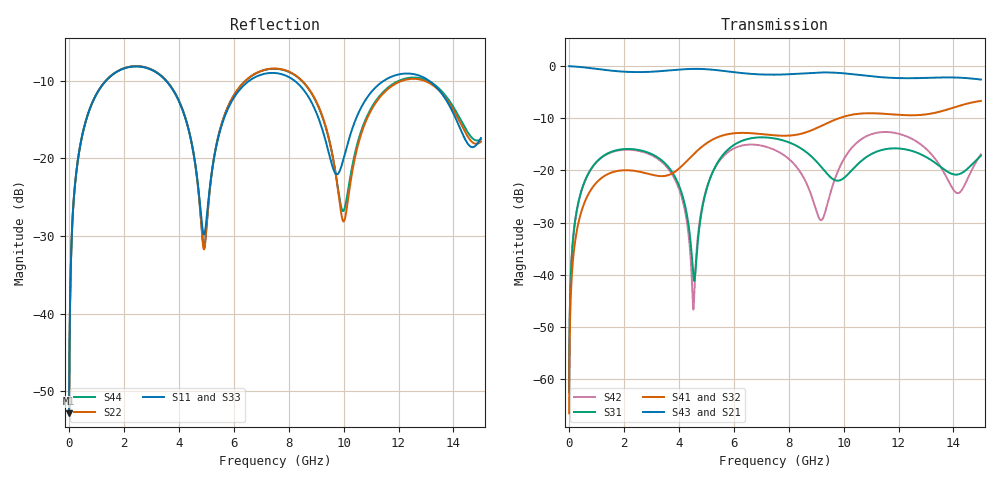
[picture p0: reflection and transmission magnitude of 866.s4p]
! Created with skrf 1.8.0 (http://scikit-rf.org).
# GHz S RI R 50.0
!freq ReS11 ImS11 ReS12 ImS12 ReS13 ImS13
! ReS14 ImS14
! ReS21 ImS21 ReS22 ImS22 ReS23 ImS23
! ReS24 ImS24
! ReS31 ImS31 ReS32 ImS32 ReS33 ImS33
! ReS34 ImS34
! ReS41 ImS41 ReS42 ImS42 ReS43 ImS43
! ReS44 ImS44
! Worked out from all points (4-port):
!   2499 points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, 5 MHz to 15 GHz, reference 50 ohm
!   strongest paths, dB at 5 MHz, 3.476 GHz, 7.19 GHz, 11.1 GHz, 15 GHz:
!     S43: 0.0, -0.9, -1.6, -2.0, -2.6
!     S21: 0.0, -0.9, -1.6, -2.0, -2.6
!     S41: -66.6, -21.1, -13.1, -9.1, -6.7
!     S32: -66.6, -21.1, -13.2, -9.0, -6.7
!     S31: -62.6, -18.5, -13.7, -16.6, -17.2
!     S42: -62.6, -18.9, -15.5, -12.9, -16.9
!   lowest |S11| = -52.8 dB at 5 MHz (marker M1), VSWR 1.00, Z = 50.2 + j0.139 ohm
!   |S11| at or under -10 dB: 3.533 GHz to 6.566 GHz (3.033 GHz wide, 60.1 % of centre); 8.215 GHz to 11.47 GHz (3.25 GHz wide, 33 % of centre); 13.11 GHz to end of sweep (the widest 3 of 4)
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0.005  0.00182 0.00138  0.9981 -0.00354  9.26e-05 0.000735  -8.98e-05 -0.000459
       0.9981 -0.00354  0.00182 0.00138  -8.98e-05 -0.000459  9.25e-05 0.000735
       9.26e-05 0.000735  -8.98e-05 -0.000459  0.00182 0.00138  0.9981 -0.00355
       -8.98e-05 -0.000459  9.25e-05 0.000735  0.9981 -0.00355  0.00182 0.00138
0.3126303  0.0287 0.09  0.9606 -0.2196  0.0138 0.043  -0.0113 -0.0264
           0.9606 -0.2196  0.0288 0.09  -0.0113 -0.0264  0.0134 0.0431
           0.0138 0.043  -0.0113 -0.0264  0.0287 0.09  0.9606 -0.2196
           -0.0113 -0.0264  0.0134 0.0431  0.9606 -0.2196  0.0288 0.09
1.419341  0.2745 0.1761  0.5379 -0.7354  0.1337 0.0582  -0.0921 -0.00423
          0.5379 -0.7354  0.276 0.175  -0.0921 -0.00432  0.1296 0.0639
          0.1337 0.0582  -0.0921 -0.00432  0.2746 0.176  0.5378 -0.7354
          -0.0921 -0.00423  0.1296 0.0639  0.5378 -0.7354  0.276 0.175
4.533139  0.0547 -0.0937  -0.8882 -0.3072  -0.00857 -0.00429  -0.0416 0.1362
          -0.8882 -0.3072  0.0484 -0.0968  -0.0429 0.1358  -0.00461 -0.000362
          -0.00857 -0.00429  -0.0429 0.1358  0.0545 -0.0944  -0.8882 -0.3073
          -0.0416 0.1362  -0.00461 -0.000362  -0.8882 -0.3073  0.049 -0.0972
5.721134  0.1312 0.1454  -0.7997 0.3961  0.1217 0.0909  0.1284 0.1792
          -0.7997 0.3961  0.1329 0.1522  0.1267 0.1801  0.0974 0.1068
          0.1217 0.0909  0.1267 0.1801  0.1311 0.145  -0.7998 0.3963
          0.1284 0.1792  0.0974 0.1068  -0.7998 0.3963  0.1326 0.1513
9.954148  0.0845 0.0395  0.8502 0.0876  -0.054 0.0623  0.0203 -0.3235
          0.8502 0.0876  0.0383 -0.014  0.0274 -0.3233  0.0755 0.0942
          -0.054 0.0623  0.0274 -0.3233  0.0764 0.0428  0.8505 0.085
          0.0203 -0.3235  0.0755 0.0942  0.8505 0.085  0.0451 -0.0105
15  0.1305 0.0353  -0.7365 -0.1004  -0.0202 0.1365  -0.0395 0.4616
    -0.7365 -0.1004  0.1278 0.00989  -0.0527 0.4612  0.0299 0.1394
    -0.0202 0.1365  -0.0527 0.4612  0.1277 0.0306  -0.7365 -0.099
    -0.0395 0.4616  0.0299 0.1394  -0.7365 -0.099  0.1324 -9.66e-05
